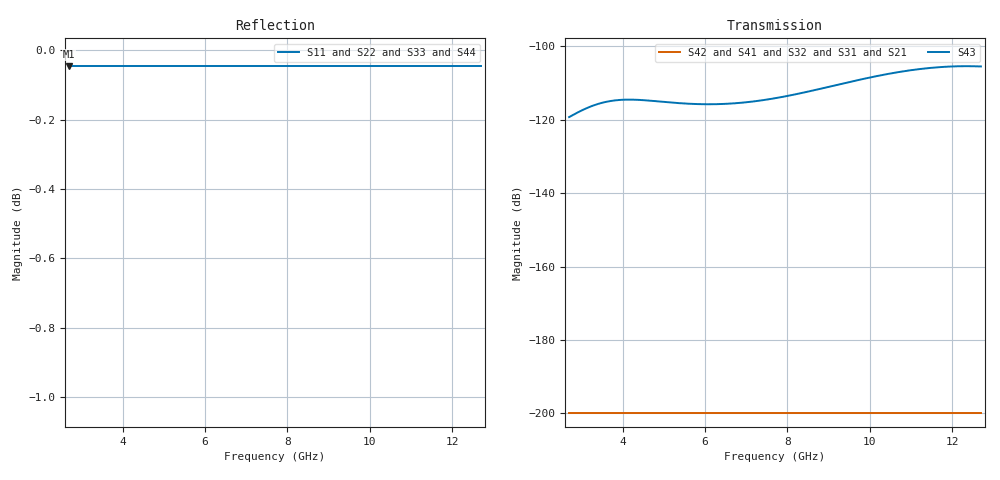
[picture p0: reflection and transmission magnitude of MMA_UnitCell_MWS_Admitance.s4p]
! Touchstone data
! Created: 02-Feb-2025 by IdEM 2024 (2024.1.0)
! COMMENTS
!  TOUCHSTONE file generated by CST MICROWAVE STUDIO
!  Date and time: Sun Feb  2 22:12:49 2025
!  Project name: MMA_UnitCell.cst
!  Parameters = {a=0.5; d=0.035; h=9; p=3; phi=0; r_1=2; r_2=2.7; s=0.2; t=0.2; theta=0; w=12}
!  Header version: 2024
!  Port assignment regex: !\s*Touchstone port\s*([0-9]+)\s*=\s*(CST MWS port|CST DES external port|CST DES block port)\s*(.+)\s* \(\"(.*)\"\)(\s*mode\s*([0-9]+))?.*
!  Touchstone port assignment:
!  Touchstone port 1 = CST MWS port Zmin ("") mode 1
!  Touchstone port 2 = CST MWS port Zmin ("") mode 2
!  Touchstone port 3 = CST MWS port Zmax ("") mode 1
!  Touchstone port 4 = CST MWS port Zmax ("") mode 2
!  S-Parameters are not renormalized. Each port impedance will be approximated by the real part at minimum frequency. The values are described via the [Reference] keyword.
!  Default impedance is overridden by [Reference]
# GHz Y MA R 1
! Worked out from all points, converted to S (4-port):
!   1001 points, 2.7 GHz to 12.7 GHz, reference per port
!   strongest paths, dB at 2.7 GHz, 5.2 GHz, 7.7 GHz, 10.2 GHz, 12.7 GHz:
!     S43: -119.3, -115.3, -114.1, -108.0, -105.5
!     S42: -, -, -, -, -
!     S41: -, -, -, -, -
!     S32: -, -, -, -, -
!     S31: -, -, -, -, -
!     S21: -, -, -, -, -
!   lowest |S11| = 0.0 dB at 2.7 GHz (marker M1), VSWR 376.73
!   |S11| at or under -10 dB: nowhere
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2.7  0.002654 0.0  0 0.0  0 0.0  0 0.0
     0 0.0  0.002654 0.0  0 0.0  0 0.0
     0 0.0  0 0.0  0.001331 -31.4  5.454e-07 165.0
     0 0.0  0 0.0  5.445e-07 165.1  0.001325 -31.5
3.33  0.002654 0.0  0 0.0  1.359e-68 -3.9  1.357e-68 -3.8
      0 0.0  0.002654 0.0  1.359e-68 -3.9  1.357e-68 -3.8
      0 0.0  0 0.0  0.001889 -9.4  7.991e-07 124.7
      0 0.0  0 0.0  7.993e-07 124.7  0.001885 -9.3
4.14  0.002654 0.0  0 0.0  1.002e-68 -6.9  1.002e-68 -6.8
      0 0.0  0.002654 0.0  1.002e-68 -6.9  1.002e-68 -6.8
      0 0.0  0 0.0  0.002395 -14.5  9.439e-07 71.7
      0 0.0  0 0.0  9.441e-07 71.7  0.002397 -14.4
5.25  0.002654 0.0  0 0.0  4.707e-69 -10.0  4.712e-69 -10.0
      0 0.0  0.002654 0.0  4.707e-69 -10.0  4.712e-69 -10.0
      0 0.0  0 0.0  0.002142 -22.4  8.545e-07 20.5
      0 0.0  0 0.0  8.549e-07 20.5  0.002147 -22.3
6.98  0.002654 0.0  0 0.0  1.11e-84 175.9  1.111e-84 175.9
      0 0.0  0.002654 0.0  1.11e-84 175.9  1.111e-84 175.9
      0 0.0  0 0.0  0.001576 -10.9  8.661e-07 -24.3
      0 0.0  0 0.0  8.649e-07 -24.4  0.001578 -11.0
10.87  0.002654 0.0  0 0.0  9.176e-69 -171.8  9.173e-69 -171.8
       0 0.0  0.002654 0.0  9.176e-69 -171.8  9.173e-69 -171.8
       0 0.0  0 0.0  0.001999 19.1  2.316e-06 -137.1
       0 0.0  0 0.0  2.316e-06 -137.2  0.001997 19.1
12.7  0.002654 0.0  0 0.0  1.745e-68 -164.0  1.744e-68 -163.9
      0 0.0  0.002654 0.0  1.745e-68 -164.0  1.744e-68 -163.9
      0 0.0  0 0.0  0.001955 38.0  2.668e-06 151.6
      0 0.0  0 0.0  2.668e-06 151.6  0.001954 38.1
